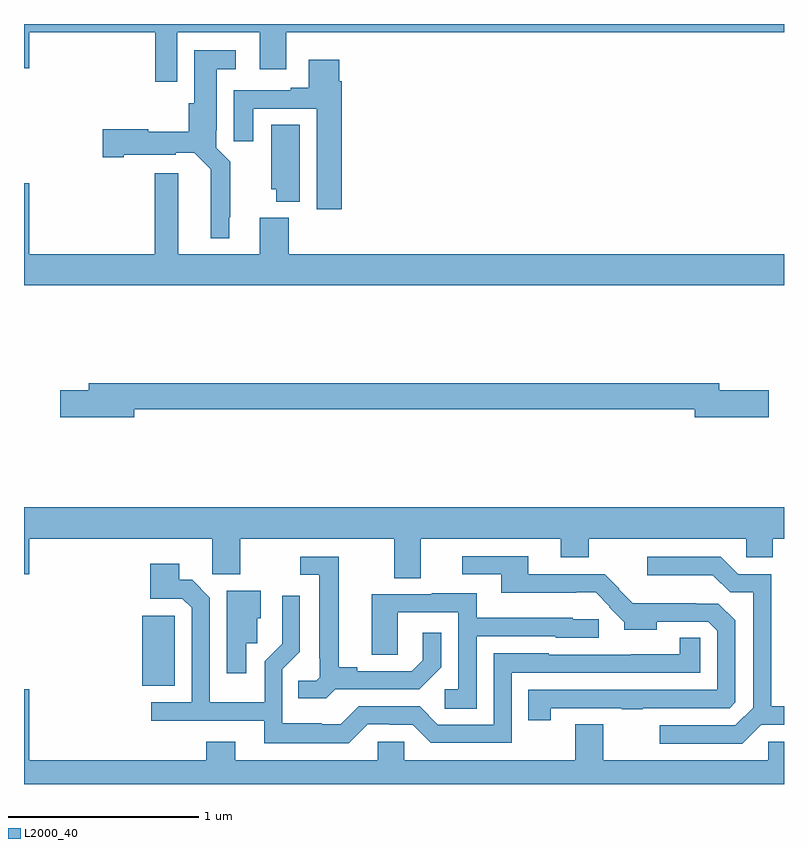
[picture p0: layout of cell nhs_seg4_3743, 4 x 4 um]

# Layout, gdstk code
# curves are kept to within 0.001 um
import gdstk
lib = gdstk.Library(unit=1e-6, precision=1e-09)
def R(c, l, rs):  # rectangles x0, y0, x1, y1
    for r in rs: c.add(gdstk.rectangle(r[:2], r[2:], *l))
def P(c, l, *ps):  # polygons
    for p in ps: c.add(gdstk.Polygon(p, *l))
L2000_40 = (2000, 40)

nhs_seg4_3743 = lib.new_cell('nhs_seg4_3743')
R(nhs_seg4_3743, L2000_40, [(309.623,757.418,309.793,757.785)])
P(nhs_seg4_3743, L2000_40, [(309.807,760.856),(310.241,760.856),(310.241,760.662),(310.381,760.662),(310.381,760.856),(313,760.856),(313,760.9),(309,760.9),(309,760.668),(309.028,760.668),(309.028,760.856),(309.691,760.856),(309.691,760.596),(309.807,760.596)],
  [(310.081,759.883),(310.085,759.883),(310.085,760.174),(310.011,760.248),(310.011,760.342),(310.015,760.342),(310.015,760.661),(310.114,760.661),(310.114,760.762),(309.896,760.762),(309.896,760.482),(309.866,760.482),(309.866,760.333),(309.654,760.333),(309.654,760.346),(309.414,760.346),(309.414,760.199),(309.526,760.199),(309.526,760.211),(309.798,760.211),(309.798,760.223),(309.897,760.223),(309.984,760.136),(309.983,759.773),(310.081,759.773)],
  [(310.673,760.598),(310.66,760.598),(310.66,760.711),(310.499,760.711),(310.499,760.564),(310.403,760.564),(310.403,760.551),(310.103,760.551),(310.103,760.284),(310.207,760.284),(310.207,760.455),(310.541,760.455),(310.541,759.924),(310.673,759.924)],
  [(310.45,760.37),(310.301,760.37),(310.301,760.029),(310.328,760.029),(310.328,759.965),(310.45,759.965)],
  [(313,759.688),(310.394,759.688),(310.394,759.88),(310.241,759.88),(310.241,759.688),(309.811,759.688),(309.811,760.114),(309.689,760.114),(309.689,759.688),(309.028,759.688),(309.028,760.063),(309,760.063),(309,759.524),(313,759.524)],
  [(309.58,758.872),(312.53,758.872),(312.53,758.83),(312.919,758.83),(312.919,758.972),(312.658,758.972),(312.658,759.008),(309.341,759.008),(309.341,758.972),(309.192,758.972),(309.192,758.83),(309.58,758.83)],
  [(311.089,758.192),(311.825,758.192),(311.825,758.093),(311.973,758.093),(311.973,758.192),(312.801,758.192),(312.801,758.094),(312.94,758.094),(312.94,758.192),(313,758.192),(313,758.356),(309,758.356),(309,758.004),(309.028,758.004),(309.028,758.192),(309.99,758.192),(309.99,758.003),(310.137,758.003),(310.137,758.192),(310.949,758.192),(310.949,757.984),(311.089,757.984)],
  [(311.772,757.299),(312.145,757.299),(312.145,757.294),(312.257,757.294),(312.257,757.299),(312.714,757.299),(312.744,757.329),(312.744,757.761),(312.655,757.85),(312.539,757.85),(312.539,757.852),(312.205,757.852),(312.131,757.925),(312.133,757.927),(312.057,758.004),(311.653,758.004),(311.653,758.1),(311.307,758.1),(311.307,758.004),(311.513,758.004),(311.513,757.907),(311.906,757.907),(311.906,757.91),(312.008,757.91),(312.084,757.833),(312.081,757.83),(312.16,757.752),(312.16,757.712),(312.331,757.712),(312.331,757.755),(312.6,757.755),(312.648,757.707),(312.648,757.395),(311.653,757.395),(311.653,757.236),(311.772,757.236)],
  [(312.88,757.212),(313,757.212),(313,757.308),(312.933,757.308),(312.933,758.004),(312.759,758.004),(312.666,758.097),(312.279,758.097),(312.279,758),(312.625,758),(312.716,757.909),(312.837,757.909),(312.837,757.302),(312.744,757.209),(312.345,757.209),(312.345,757.113),(312.781,757.113)],
  [(310.638,757.398),(311.08,757.398),(311.196,757.514),(311.196,757.696),(311.099,757.696),(311.099,757.551),(311.042,757.494),(310.753,757.494),(310.753,757.514),(310.657,757.514),(310.657,758.097),(310.455,758.097),(310.455,758.001),(310.553,758.001),(310.553,757.561),(310.557,757.561),(310.557,757.461),(310.539,757.443),(310.444,757.443),(310.444,757.351),(310.59,757.351)],
  [(310.809,757.215),(310.926,757.215),(310.926,757.212),(311.046,757.212),(311.142,757.116),(311.568,757.116),(311.568,757.485),(312.558,757.485),(312.558,757.67),(312.45,757.67),(312.45,757.582),(311.763,757.581),(311.763,757.588),(311.472,757.588),(311.472,757.212),(311.178,757.212),(311.082,757.308),(310.761,757.308),(310.668,757.215),(310.568,757.215),(310.568,757.219),(310.359,757.219),(310.359,757.503),(310.452,757.596),(310.452,757.891),(310.358,757.891),(310.358,757.638),(310.266,757.546),(310.266,757.33),(309.978,757.33),(309.978,757.881),(309.885,757.974),(309.817,757.974),(309.817,758.059),(309.665,758.059),(309.665,757.875),(309.834,757.875),(309.882,757.827),(309.882,757.329),(309.669,757.329),(309.669,757.233),(310.265,757.233),(310.265,757.115),(310.709,757.115)],
  [(310.171,757.641),(310.227,757.641),(310.227,757.773),(310.246,757.773),(310.246,757.918),(310.067,757.918),(310.067,757.482),(310.171,757.482)],
  [(311.382,757.677),(311.799,757.677),(311.799,757.671),(312.024,757.671),(312.024,757.767),(311.889,757.767),(311.889,757.774),(311.383,757.774),(311.383,757.903),(311.147,757.903),(311.147,757.899),(310.829,757.899),(310.829,757.579),(310.968,757.579),(310.968,757.803),(311.286,757.803),(311.286,757.398),(311.214,757.398),(311.214,757.297),(311.382,757.297)],
  [(309.028,757.399),(309,757.399),(309,756.9),(313,756.9),(313,757.122),(312.918,757.122),(312.918,757.024),(312.049,757.024),(312.049,757.214),(311.902,757.214),(311.902,757.024),(311.001,757.024),(311.001,757.122),(310.863,757.122),(310.863,757.024),(310.111,757.024),(310.111,757.123),(309.959,757.123),(309.959,757.024),(309.028,757.024)])

lib.write_gds('nhs_seg4_3743.gds')
